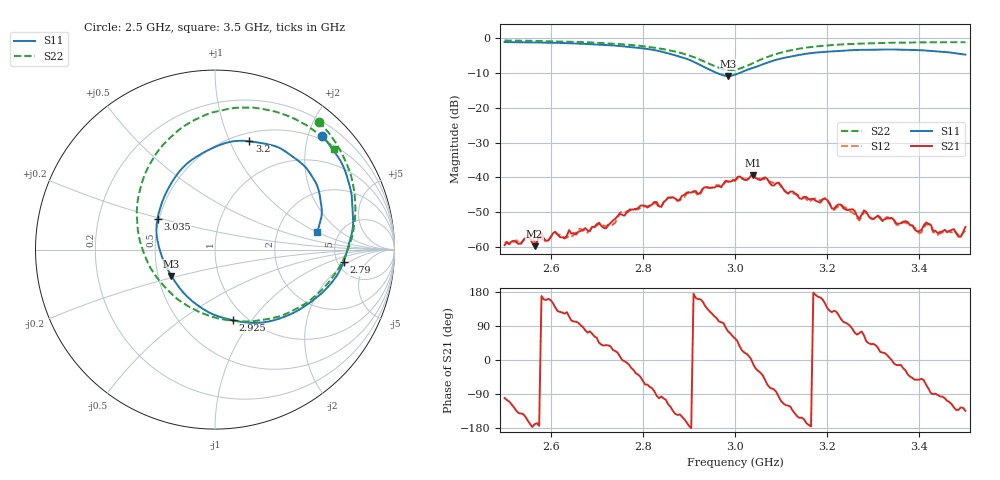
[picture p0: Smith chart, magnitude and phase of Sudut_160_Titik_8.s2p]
# Hz S RI R 50
! CMT, C1220, 16058040, 17.2.0/1
! Date: 15/08/2018 09:56:06
! Data: Format (Calibration Info)
! Freq  S11: Re/Im (F2)  S21: Re/Im (F2)  S12: Re/Im (F2)  S22: Re/Im (F2)
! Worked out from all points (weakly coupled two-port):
!   201 points, 2.5 GHz to 3.5 GHz, reference 50 ohm
!   highest |S21| = -39.37 dB at 3.04 GHz (marker M1); lowest = -59.7 dB at 2.565 GHz (marker M2)
!   lowest |S11| = -10.9 dB at 2.985 GHz (marker M3), VSWR 1.79, Z = 29.4 - j9.35 ohm
!   |S11| at or under -10 dB: 2.959 GHz to 3.011 GHz (51.98 MHz wide, 1.74 % of centre)
!   |S22| runs from -9.2 to -0.7 dB; largest |S21 - S12| = 0.00083
!   S11 on the Smith chart (normalised r, x): 2.5 GHz: 0.43, +2.25; 2.79 GHz: 5.65, -1.63; 2.925 GHz: 0.86, -0.81; 3.035 GHz: 0.49, +0.20; 3.2 GHz: 0.59, +1.18; 3.5 GHz: 3.40, +0.98
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2.5e9  0.5968 0.6336  -0.000193 -0.00106  -0.000141 -0.00114  0.5777 0.7135
2.55e9  0.6522 0.5615  -0.00131 -0.000493  -0.00134 -0.000678  0.6333 0.6514
2.565e9  0.6689 0.5392  -0.00102 -0.000185  -0.00119 6.27e-06  0.6488 0.6304
2.58e9  0.6873 0.5133  -0.00156 0.000311  -0.00128 0.000324  0.665 0.6072
2.59e9  0.698 0.4959  -0.00115 0.000455  -0.00113 0.000365  0.6748 0.5924
2.67e9  0.7591 0.3167  9.84e-05 0.00176  0.000193 0.00172  0.7486 0.4397
2.79e9  0.7164 -0.0695  0.00285 -0.00228  0.00263 -0.00232  0.7688 0.091
2.835e9  0.6044 -0.2338  -0.000726 -0.00378  -0.000576 -0.00364  0.7023 -0.0807
2.925e9  0.099 -0.3933  -0.00571 0.00207  -0.00561 0.0017  0.2899 -0.3874
2.985e9  -0.2428 -0.1464  0.00216 0.00841  0.00182 0.00856  -0.1756 -0.2997
3e9  -0.2927 -0.048  0.00492 0.00758  0.00524 0.00735  -0.2763 -0.2116
3.035e9  -0.32 0.1733  0.0106 0.000388  0.0106 0.000601  -0.4196 0.0527
3.04e9  -0.3136 0.2034  0.0105 -0.00231  0.0109 -0.00202  -0.4279 0.0943
3.105e9  -0.1344 0.4966  -0.00283 -0.00618  -0.00289 -0.00598  -0.3265 0.5362
3.17e9  0.0958 0.6025  -0.00493 0.000197  -0.00494 -0.000226  -0.0711 0.7421
3.2e9  0.191 0.6031  -0.00351 0.00318  -0.00344 0.00335  0.041 0.7767
3.27e9  0.3783 0.5561  0.000826 0.00244  0.00074 0.00229  0.2614 0.7842
3.28e9  0.3997 0.5417  0.00144 0.00305  0.00138 0.0029  0.288 0.7791
3.335e9  0.5059 0.458  0.00257 0.000286  0.00261 0.000191  0.4144 0.7414
3.4e9  0.5751 0.338  0.00105 -0.00134  0.00086 -0.00132  0.5311 0.6773
3.485e9  0.5802 0.1329  -0.000941 -0.00106  -0.00102 -0.00107  0.647 0.5776
3.5e9  0.5668 0.0961  -0.00135 -0.0014  -0.00128 -0.00115  0.6635 0.5591
